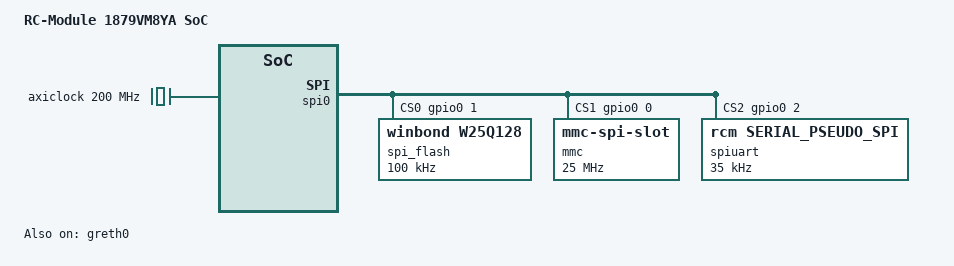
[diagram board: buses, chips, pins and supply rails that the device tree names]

/dts-v1/;
/ {
    model = "RC-Module 1879VM8YA SoC";
	compatible = "rcm,1879VM8YA";
	#address-cells = <1>;
	#size-cells = <1>;


    config {
           u-boot,spl-payload-offset = <0x000000>; 
    };

	chosen {
		stdout-path = "uart0";
	};

	aliases {
		uart0 = &spiuart;
		mmc0 = &mmc;
		spi0 = &spi0;
	}; 

	axiclock: axiclock@100M {
		#clock-cells = <0>;
		compatible = "fixed-clock";
		clock-frequency = <200000000>;
		u-boot,dm-pre-reloc;
	};

	axi {
		compatible = "simple-bus";
		#address-cells = <1>;
		#size-cells = <1>;
		u-boot,dm-pre-reloc;

	    spi0: spi0@0x000CF000 {
		    compatible = "rcm,pl022-spi";			
		    #address-cells = <1>;
		    #size-cells = <0>;
			clocks = <&axiclock>;
		    reg = <0x000CF000 0x1000>;
		    spi-max-frequency = <25000000>;		
			cs-gpios = <&gpio0 1 0>, <&gpio0 0 0>, <&gpio0 2 0>, <&gpio0 3 0>;
			oe-gpios = <&gpio0 7 0>;
		    u-boot,dm-pre-reloc;

		    spi_flash@0 {
			    compatible = "winbond,w25q128", "spi-flash";
			    reg = <0>;
				spi-max-frequency = <100000>;
				spi-cpol;
				spi-cpha;
			    u-boot,dm-pre-reloc;
								
		    };

			mmc: mmc@1 {
				compatible = "mmc-spi-slot";
			    reg = <1>;
				spi-max-frequency = <25000000>;
				spi-cpol;
				spi-cpha;
			    u-boot,dm-pre-reloc;
				//status="disabled";
			};

            spiuart: spiuart@2
            {
    		    compatible = "rcm,serial_pseudo_spi";			
    		    reg = <2>;
				spi-max-frequency = <35000>;
				spi-cpol;
				spi-cpha;
    		    u-boot,dm-pre-reloc;
            };
        };

        greth0: greth0@0x000D0000{
            compatible = "rcm,greth";
            reg = <0x000D0000 0x1000>;
            mac-address = [ec 17 66 64 08 10];
            phy-mode = "rmii";
            status = "okay";
        };

		gpio0: gpio0@0x000CC000 {
		    compatible = "rcm,pl060";
		    #address-cells = <1>;
		    #size-cells = <0>;
		    reg = <0x000CC000 0x1000>;
			#gpio-cells = <2>;
			gpio-controller;
			u-boot,dm-pre-reloc;
		};

    };
};
